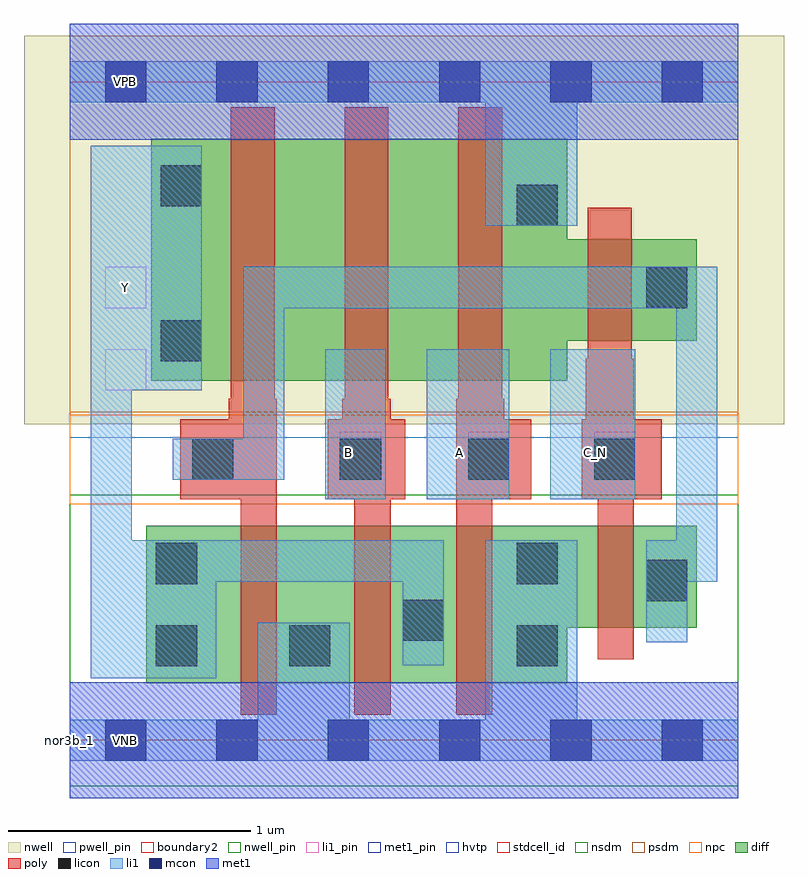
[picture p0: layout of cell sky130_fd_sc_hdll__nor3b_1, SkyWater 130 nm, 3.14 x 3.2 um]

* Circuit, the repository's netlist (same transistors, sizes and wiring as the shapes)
* Copyright 2020 The SkyWater PDK Authors
*
* Licensed under the Apache License, Version 2.0 (the "License");
* you may not use this file except in compliance with the License.
* You may obtain a copy of the License at
*
*     https://www.apache.org/licenses/LICENSE-2.0
*
* Unless required by applicable law or agreed to in writing, software
* distributed under the License is distributed on an "AS IS" BASIS,
* WITHOUT WARRANTIES OR CONDITIONS OF ANY KIND, either express or implied.
* See the License for the specific language governing permissions and
* limitations under the License.
*
* SPDX-License-Identifier: Apache-2.0

.SUBCKT sky130_fd_sc_hdll__nor3b_1 A B C_N VGND VNB VPB VPWR Y
*.PININFO A:I B:I C_N:I VGND:I VNB:I VPB:I VPWR:I Y:O
MMP0 VPWR A sndPA VPB sky130_fd_pr__pfet_01v8_hvt m=1 w=1.0U l=0.18U mult=1 sa=0.265
+ sb=0.265 sd=0.28 area=0.063 perim=1.14
MMP1 sndPA B sndPB VPB sky130_fd_pr__pfet_01v8_hvt m=1 w=1.0U l=0.18U mult=1 sa=0.265
+ sb=0.265 sd=0.28 area=0.063 perim=1.14
MMP2 sndPB C Y VPB sky130_fd_pr__pfet_01v8_hvt m=1 w=1.0U l=0.18U mult=1 sa=0.265
+ sb=0.265 sd=0.28 area=0.063 perim=1.14
MMIP2 C C_N VPWR VPB sky130_fd_pr__pfet_01v8_hvt m=1 w=0.42U l=0.18U mult=1 sa=0.265
+ sb=0.265 sd=0.28 area=0.063 perim=1.14
MMN0 Y A VGND VNB sky130_fd_pr__nfet_01v8 m=1 w=0.65U l=0.15U mult=1 sa=0.265 sb=0.265
+ sd=0.28 area=0.063 perim=1.14
MMN1 Y B VGND VNB sky130_fd_pr__nfet_01v8 m=1 w=0.65U l=0.15U mult=1 sa=0.265 sb=0.265
+ sd=0.28 area=0.063 perim=1.14
MMN2 Y C VGND VNB sky130_fd_pr__nfet_01v8 m=1 w=0.65U l=0.15U mult=1 sa=0.265 sb=0.265
+ sd=0.28 area=0.063 perim=1.14
MMIN2 C C_N VGND VNB sky130_fd_pr__nfet_01v8 m=1 w=0.42U l=0.15U mult=1 sa=0.265
+ sb=0.265 sd=0.28 area=0.063 perim=1.14
.ENDS sky130_fd_sc_hdll__nor3b_1

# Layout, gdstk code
import gdstk
lib = gdstk.Library(unit=1e-6, precision=1e-09)
def R(c, l, rs):  # rectangles x0, y0, x1, y1
    for r in rs: c.add(gdstk.rectangle(r[:2], r[2:], *l))
def A(c, l, x, y, w, h, nx, ny, dx, dy):  # array of equal rectangles
    R(c, l, [(x+i*dx, y+j*dy, x+i*dx+w, y+j*dy+h) for i in range(nx) for j in range(ny)])
def P(c, l, *ps):  # polygons
    for p in ps: c.add(gdstk.Polygon(p, *l))
nwell_pin = (64, 16)
nwell = (64, 20)
diff = (65, 20)
poly = (66, 20)
licon = (66, 44)
li1_pin = (67, 16)
li1 = (67, 20)
mcon = (67, 44)
met1_pin = (68, 16)
met1 = (68, 20)
hvtp = (78, 44)
stdcell_id = (81, 4)
nsdm = (93, 44)
psdm = (94, 20)
npc = (95, 20)
pwell_pin = (122, 16)
boundary2 = (236, 0)

sky130_fd_sc_hdll__nor3b = lib.new_cell('sky130_fd_sc_hdll__nor3b_1')
R(sky130_fd_sc_hdll__nor3b, nwell_pin, [(0.145,2.635,0.315,2.805)])
R(sky130_fd_sc_hdll__nor3b, nwell, [(-0.19,1.305,2.95,2.91)])
P(sky130_fd_sc_hdll__nor3b, diff, [(2.59,2.07),(2.055,2.07),(2.055,2.485),(0.335,2.485),(0.335,1.485),(2.055,1.485),(2.055,1.65),(2.59,1.65)],
  [(2.59,0.885),(0.315,0.885),(0.315,0.235),(2.055,0.235),(2.055,0.465),(2.59,0.465)])
P(sky130_fd_sc_hdll__nor3b, poly, [(0.855,1.41),(0.845,1.41),(0.845,2.615),(0.665,2.615),(0.665,1.41),(0.655,1.41),(0.655,1.325),(0.455,1.325),(0.455,0.995),(0.705,0.995),(0.705,0.105),(0.855,0.105)],
  [(1.385,1.325),(1.325,1.325),(1.325,1.41),(1.315,1.41),(1.315,2.615),(1.135,2.615),(1.135,1.41),(1.125,1.41),(1.125,1.325),(1.065,1.325),(1.065,0.995),(1.175,0.995),(1.175,0.105),(1.325,0.105),(1.325,0.995),(1.385,0.995)],
  [(1.905,1.325),(1.795,1.325),(1.795,1.41),(1.785,1.41),(1.785,2.615),(1.605,2.615),(1.605,1.41),(1.595,1.41),(1.595,0.105),(1.745,0.105),(1.745,0.995),(1.905,0.995)],
  [(2.445,1.325),(2.33,1.325),(2.33,1.575),(2.32,1.575),(2.32,2.2),(2.14,2.2),(2.14,1.575),(2.13,1.575),(2.13,1.325),(2.115,1.325),(2.115,0.995),(2.18,0.995),(2.18,0.335),(2.33,0.335),(2.33,0.995),(2.445,0.995)])
R(sky130_fd_sc_hdll__nor3b, licon, [(0.355,0.305,0.525,0.475), (0.905,0.305,1.075,0.475), (1.845,0.305,2.015,0.475), (1.375,0.41,1.545,0.58), (2.38,0.575,2.55,0.745), (0.355,0.645,0.525,0.815), (1.845,0.645,2.015,0.815), (0.505,1.075,0.675,1.245), (1.115,1.075,1.285,1.245), (1.645,1.075,1.815,1.245), (2.165,1.075,2.335,1.245), (0.375,1.565,0.545,1.735), (2.38,1.785,2.55,1.955), (1.845,2.125,2.015,2.295), (0.375,2.205,0.545,2.375)])
R(sky130_fd_sc_hdll__nor3b, li1_pin, [(1.115,1.105,1.285,1.275), (1.645,1.105,1.815,1.275), (2.165,1.105,2.335,1.275), (0.145,1.445,0.315,1.615), (0.145,1.785,0.315,1.955)])
R(sky130_fd_sc_hdll__nor3b, li1, [(1.055,0.995,1.305,1.615), (1.475,0.995,1.815,1.615), (1.985,0.995,2.335,1.615)])
P(sky130_fd_sc_hdll__nor3b, li1, [(2.76,0.085),(2.095,0.085),(2.095,0.825),(1.715,0.825),(1.715,0.085),(1.155,0.085),(1.155,0.485),(0.775,0.485),(0.775,0.085),(0,0.085),(0,-0.085),(2.76,-0.085)],
  [(2.76,2.805),(0,2.805),(0,2.635),(1.715,2.635),(1.715,2.125),(2.095,2.125),(2.095,2.635),(2.76,2.635)],
  [(1.545,0.825),(0.255,0.825),(0.255,1.445),(0.545,1.445),(0.545,2.455),(0.085,2.455),(0.085,0.255),(0.605,0.255),(0.605,0.655),(1.375,0.655),(1.375,0.31),(1.545,0.31)],
  [(2.675,1.955),(0.715,1.955),(0.715,1.245),(0.425,1.245),(0.425,1.075),(0.885,1.075),(0.885,1.785),(2.505,1.785),(2.505,0.825),(2.38,0.825),(2.38,0.405),(2.55,0.405),(2.55,0.655),(2.675,0.655)])
A(sky130_fd_sc_hdll__nor3b, mcon, 0.145, -0.085, 0.17, 0.17, 6, 2, 0.46, 2.72)
R(sky130_fd_sc_hdll__nor3b, met1_pin, [(0.145,-0.085,0.315,0.085), (0.145,2.635,0.315,2.805)])
R(sky130_fd_sc_hdll__nor3b, met1, [(0,-0.24,2.76,0.24), (0,2.48,2.76,2.96)])
R(sky130_fd_sc_hdll__nor3b, hvtp, [(0,1.25,2.76,2.72)])
R(sky130_fd_sc_hdll__nor3b, stdcell_id, [(0,0,2.76,2.72)])
R(sky130_fd_sc_hdll__nor3b, nsdm, [(0,-0.19,2.76,1.015)])
R(sky130_fd_sc_hdll__nor3b, psdm, [(0,1.355,2.76,2.91)])
R(sky130_fd_sc_hdll__nor3b, npc, [(0,0.975,2.76,1.345)])
R(sky130_fd_sc_hdll__nor3b, pwell_pin, [(0.145,-0.085,0.315,0.085)])
R(sky130_fd_sc_hdll__nor3b, boundary2, [(0,0,2.76,2.72)])
sky130_fd_sc_hdll__nor3b.add(gdstk.Label('C_N', (2.17,1.19), layer=67, texttype=5))
sky130_fd_sc_hdll__nor3b.add(gdstk.Label('Y', (0.23,1.87), layer=67, texttype=5))
sky130_fd_sc_hdll__nor3b.add(gdstk.Label('A', (1.61,1.19), layer=67, texttype=5))
sky130_fd_sc_hdll__nor3b.add(gdstk.Label('B', (1.15,1.19), layer=67, texttype=5))
sky130_fd_sc_hdll__nor3b.add(gdstk.Label('VPB', (0.23,2.72), layer=64, texttype=5))
sky130_fd_sc_hdll__nor3b.add(gdstk.Label('VNB', (0.23,0), layer=64, texttype=59))
sky130_fd_sc_hdll__nor3b.add(gdstk.Label('VGND', (0.23,0), layer=68, texttype=5))
sky130_fd_sc_hdll__nor3b.add(gdstk.Label('VPWR', (0.23,2.72), layer=68, texttype=5))
sky130_fd_sc_hdll__nor3b.add(gdstk.Label('nor3b_1', (0,0), layer=83, texttype=44))

lib.write_gds('sky130_fd_sc_hdll__nor3b_1.gds')
